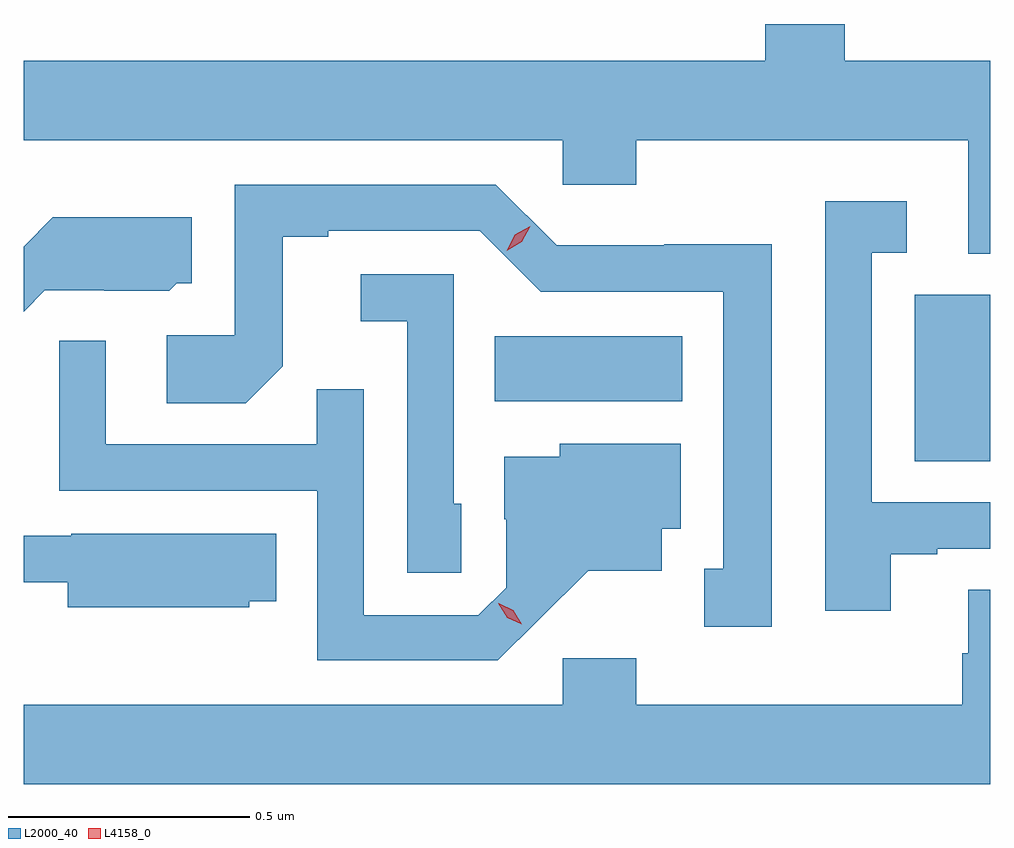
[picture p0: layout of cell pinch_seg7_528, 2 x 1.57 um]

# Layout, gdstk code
import gdstk
lib = gdstk.Library(unit=1e-6, precision=1e-09)
def R(c, l, rs):  # rectangles x0, y0, x1, y1
    for r in rs: c.add(gdstk.rectangle(r[:2], r[2:], *l))
def P(c, l, *ps):  # polygons
    for p in ps: c.add(gdstk.Polygon(p, *l))
L2000_40 = (2000, 40)
L4158_0 = (4158, 0)

pinch_seg7_528 = lib.new_cell('pinch_seg7_528')
R(pinch_seg7_528, L2000_40, [(127.802,1071.88,127.959,1072.224), (126.934,1072.004,127.321,1072.138)])
P(pinch_seg7_528, L2000_40, [(127.959,1072.708),(127.658,1072.708),(127.658,1072.784),(127.493,1072.784),(127.493,1072.708),(125.959,1072.708),(125.959,1072.544),(127.074,1072.544),(127.074,1072.451),(127.226,1072.451),(127.226,1072.544),(127.913,1072.544),(127.913,1072.309),(127.959,1072.309)],
  [(127.507,1072.328),(127.284,1072.328),(127.284,1072.326),(127.062,1072.326),(126.936,1072.452),(126.396,1072.452),(126.396,1072.14),(126.255,1072.14),(126.255,1072),(126.419,1072),(126.495,1072.076),(126.495,1072.344),(126.589,1072.344),(126.589,1072.356),(126.903,1072.356),(127.029,1072.23),(127.406,1072.23),(127.406,1071.657),(127.367,1071.657),(127.367,1071.537),(127.507,1071.537)],
  [(127.753,1071.687),(127.849,1071.687),(127.849,1071.699),(127.959,1071.699),(127.959,1071.795),(127.713,1071.795),(127.713,1072.311),(127.786,1072.311),(127.786,1072.417),(127.617,1072.417),(127.617,1071.57),(127.753,1071.57)],
  [(126.003,1072.233),(126.126,1072.233),(126.126,1072.232),(126.26,1072.232),(126.276,1072.248),(126.307,1072.248),(126.307,1072.384),(126.019,1072.384),(125.959,1072.323),(125.959,1072.189)],
  [(126.864,1071.792),(126.849,1071.792),(126.849,1072.266),(126.657,1072.266),(126.657,1072.169),(126.753,1072.169),(126.753,1071.649),(126.864,1071.649)],
  [(127.024,1071.551),(127.127,1071.653),(127.279,1071.653),(127.279,1071.74),(127.318,1071.74),(127.318,1071.916),(127.068,1071.916),(127.068,1071.889),(126.953,1071.889),(126.953,1071.76),(126.957,1071.76),(126.957,1071.618),(126.9,1071.561),(126.663,1071.561),(126.663,1072.028),(126.565,1072.028),(126.565,1071.915),(126.129,1071.915),(126.129,1072.129),(126.033,1072.129),(126.033,1071.819),(126.567,1071.819),(126.567,1071.468),(126.94,1071.468)],
  [(126.426,1071.59),(126.482,1071.59),(126.482,1071.73),(126.058,1071.73),(126.058,1071.726),(125.959,1071.726),(125.959,1071.629),(126.05,1071.629),(126.05,1071.578),(126.426,1071.578)],
  [(127.959,1071.614),(127.913,1071.614),(127.913,1071.482),(127.901,1071.482),(127.901,1071.376),(127.226,1071.376),(127.226,1071.472),(127.074,1071.472),(127.074,1071.376),(125.959,1071.376),(125.959,1071.212),(127.959,1071.212)])
P(pinch_seg7_528, L4158_0, [(126.958,1072.315),(126.958,1072.315),(126.975,1072.348),(127.007,1072.366),(127.007,1072.366),(127.007,1072.366),(126.99,1072.334),(126.958,1072.315)],
  [(126.99,1071.542),(126.959,1071.556),(126.941,1071.586),(126.941,1071.586),(126.942,1071.586),(126.972,1071.571),(126.99,1071.542),(126.99,1071.542)])

lib.write_gds('pinch_seg7_528.gds')
